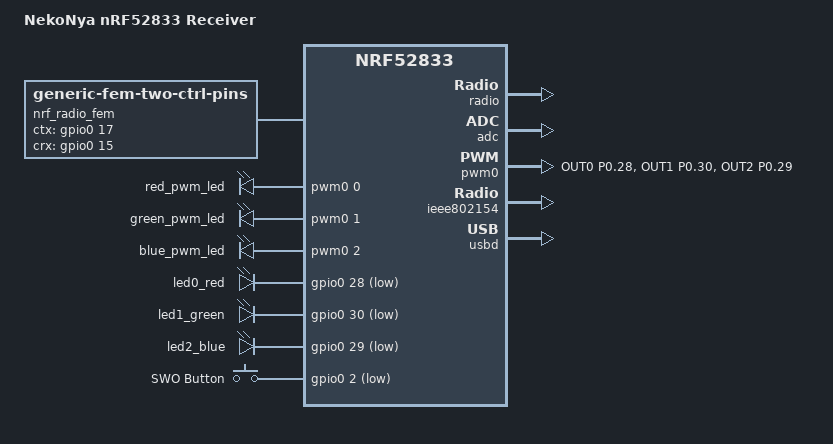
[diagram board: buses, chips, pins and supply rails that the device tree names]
// Copyright (c) 2024 Your Name
// SPDX-License-Identifier: Apache-2.0

/dts-v1/;
#include <nordic/nrf52833_qdaa.dtsi>
#include <zephyr/dt-bindings/input/input-event-codes.h>

&pinctrl {
    pwm0_default: pwm0_default {
        group1 {
            /* 修复：分配不同的 PWM 通道 0, 1, 2 */
            psels = <NRF_PSEL(PWM_OUT0, 0, 28)>,  /* Red */
                    <NRF_PSEL(PWM_OUT1, 0, 30)>,  /* Green */
                    <NRF_PSEL(PWM_OUT2, 0, 29)>;  /* Blue */
            nordic,invert;
        };
    };

    pwm0_sleep: pwm0_sleep {
        group1 {
            psels = <NRF_PSEL(PWM_OUT0, 0, 28)>,
                    <NRF_PSEL(PWM_OUT1, 0, 30)>,
                    <NRF_PSEL(PWM_OUT2, 0, 29)>;
            low-power-enable;
        };
    };
};

/ {
    model = "NekoNya nRF52833 Receiver";
    compatible = "nekonya_uf2";

    chosen {
        zephyr,console = &cdc_acm_uart;
        zephyr,shell-uart = &cdc_acm_uart;
        zephyr,uart-mcumgr = &cdc_acm_uart;
        zephyr,bt-mon-uart = &cdc_acm_uart;
        zephyr,bt-c2h-uart = &cdc_acm_uart;
        zephyr,sram = &sram0;
        zephyr,flash = &flash0;
        zephyr,ieee802154 = &ieee802154;
    };

    nrf_radio_fem: at2401c {
        /* 声明这是一个使用两个控制引脚的通用 FEM 射频模块 */
        compatible = "generic-fem-two-ctrl-pins";
        
        /* TXEN (发送使能) -> 硬件接的是 P0.17 */
        ctx-gpios = <&gpio0 17 GPIO_ACTIVE_HIGH>;
        ctx-settle-time-us = <1>;
        
        /* RXEN (接收使能) -> 硬件接的是 P0.15 */
        crx-gpios = <&gpio0 15 GPIO_ACTIVE_HIGH>;
        crx-settle-time-us = <1>;
        
        /* AT2401C 理论增益值（Zephyr 会据此优化内部发射功率） */
        tx-gain-db = <17>;
        rx-gain-db = <12>;
    };

    /* 确保系统的射频天线绑定了这个放大器 */
    &radio {
        fem = <&nrf_radio_fem>;
    };

    /* 修复：删除了双重占用的 gpio-leds 节点，只保留 pwmleds */

    pwmleds {
        compatible = "pwm-leds";
        red_pwm_led: pwm_led_red {
            pwms = <&pwm0 0 PWM_MSEC(1) PWM_POLARITY_NORMAL>;
        };
        green_pwm_led: pwm_led_green {
            pwms = <&pwm0 1 PWM_MSEC(1) PWM_POLARITY_NORMAL>;
        };
        blue_pwm_led: pwm_led_blue {
            pwms = <&pwm0 2 PWM_MSEC(1) PWM_POLARITY_NORMAL>;
        };
    };

	leds {
        compatible = "gpio-leds";
        led0_red: led_red_gpio {
            gpios = <&gpio0 28 GPIO_ACTIVE_LOW>;
        };
        led1_green: led_green_gpio {
            gpios = <&gpio0 30 GPIO_ACTIVE_LOW>;
        };
        led2_blue: led_blue_gpio {
            gpios = <&gpio0 29 GPIO_ACTIVE_LOW>;
        };
    };

    buttons {
        compatible = "gpio-keys";
        button0: button_swo {
            gpios = <&gpio0 2 (GPIO_PULL_UP | GPIO_ACTIVE_LOW)>;
            label = "SWO Button";
            zephyr,code = <INPUT_KEY_0>;
        };
    };

    aliases {
        sw0 = &button0;
        /* 改回指向普通 gpio led，迎合接收器底层代码 */
        led0 = &led0_red;
        led1 = &led1_green;
        led2 = &led2_blue;
        
        /* 保持 pwm 别名不变，以防其他模块需要 */
        pwm-led0 = &red_pwm_led;
        pwm-led1 = &green_pwm_led;
        pwm-led2 = &blue_pwm_led;
        watchdog0 = &wdt0;
    };
};

&reg0 {
    status = "disabled";
};

&reg1 {
    regulator-initial-mode = <NRF5X_REG_MODE_LDO>;
};

&radio {
    fem = <&nrf_radio_fem>;
};

&adc {
    status = "okay";
};

&gpio0 {
    status = "okay";
};

&gpiote {
    status = "okay";
};

&uicr {
    nfct-pins-as-gpios;
    gpio-as-nreset;
};

&pwm0 {
    status = "okay";
    pinctrl-0 = <&pwm0_default>;
    pinctrl-1 = <&pwm0_sleep>;
    pinctrl-names = "default", "sleep";
};

&ieee802154 {
    status = "okay";
};

zephyr_udc0: &usbd {
    compatible = "nordic,nrf-usbd";
    status = "okay";
    cdc_acm_uart: cdc_acm_uart {
        compatible = "zephyr,cdc-acm-uart";
    };
};

&nfct {
    status = "disabled";
};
